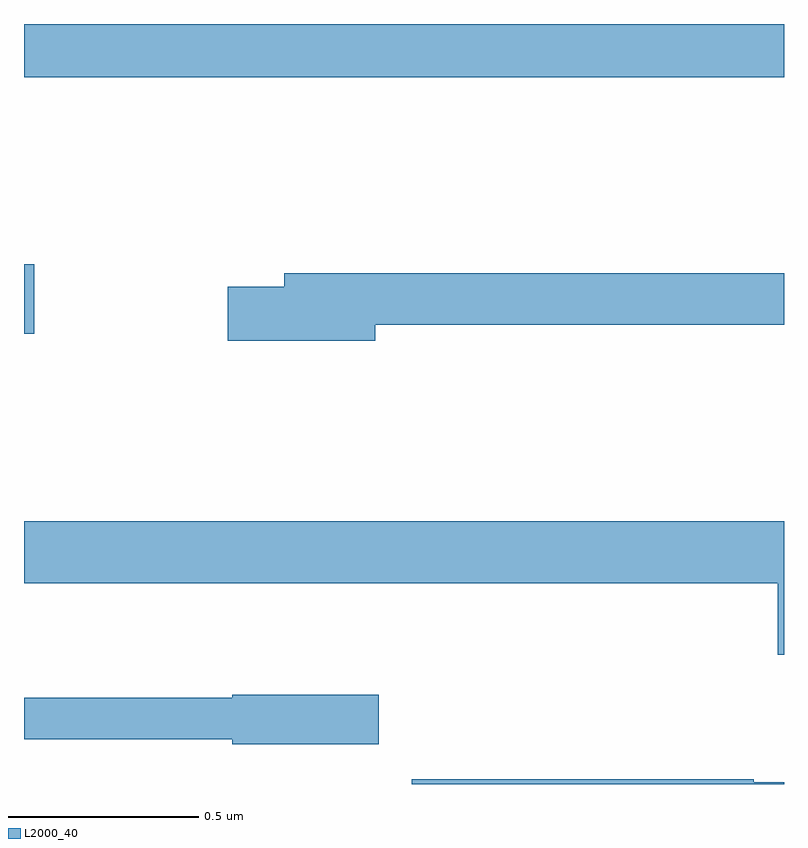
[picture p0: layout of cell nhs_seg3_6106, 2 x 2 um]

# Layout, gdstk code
import gdstk
lib = gdstk.Library(unit=1e-6, precision=1e-09)
def R(c, l, rs):  # rectangles x0, y0, x1, y1
    for r in rs: c.add(gdstk.rectangle(r[:2], r[2:], *l))
def P(c, l, *ps):  # polygons
    for p in ps: c.add(gdstk.Polygon(p, *l))
L2000_40 = (2000, 40)

nhs_seg3_6106 = lib.new_cell('nhs_seg3_6106')
R(nhs_seg3_6106, L2000_40, [(187,689.585,187.027,689.768), (187,690.26,189,690.4)])
P(nhs_seg3_6106, L2000_40, [(187.924,689.608),(189,689.608),(189,689.744),(187.685,689.744),(187.685,689.708),(187.536,689.708),(187.536,689.566),(187.924,689.566)],
  [(189,689.092),(187,689.092),(187,688.928),(188.984,688.928),(188.984,688.74),(189,688.74)],
  [(187.933,688.635),(187.548,688.635),(187.548,688.627),(187,688.627),(187,688.518),(187.548,688.518),(187.548,688.505),(187.933,688.505)],
  [(189,688.405),(188.92,688.405),(188.92,688.412),(188.02,688.412),(188.02,688.4),(189,688.4)])

lib.write_gds('nhs_seg3_6106.gds')
